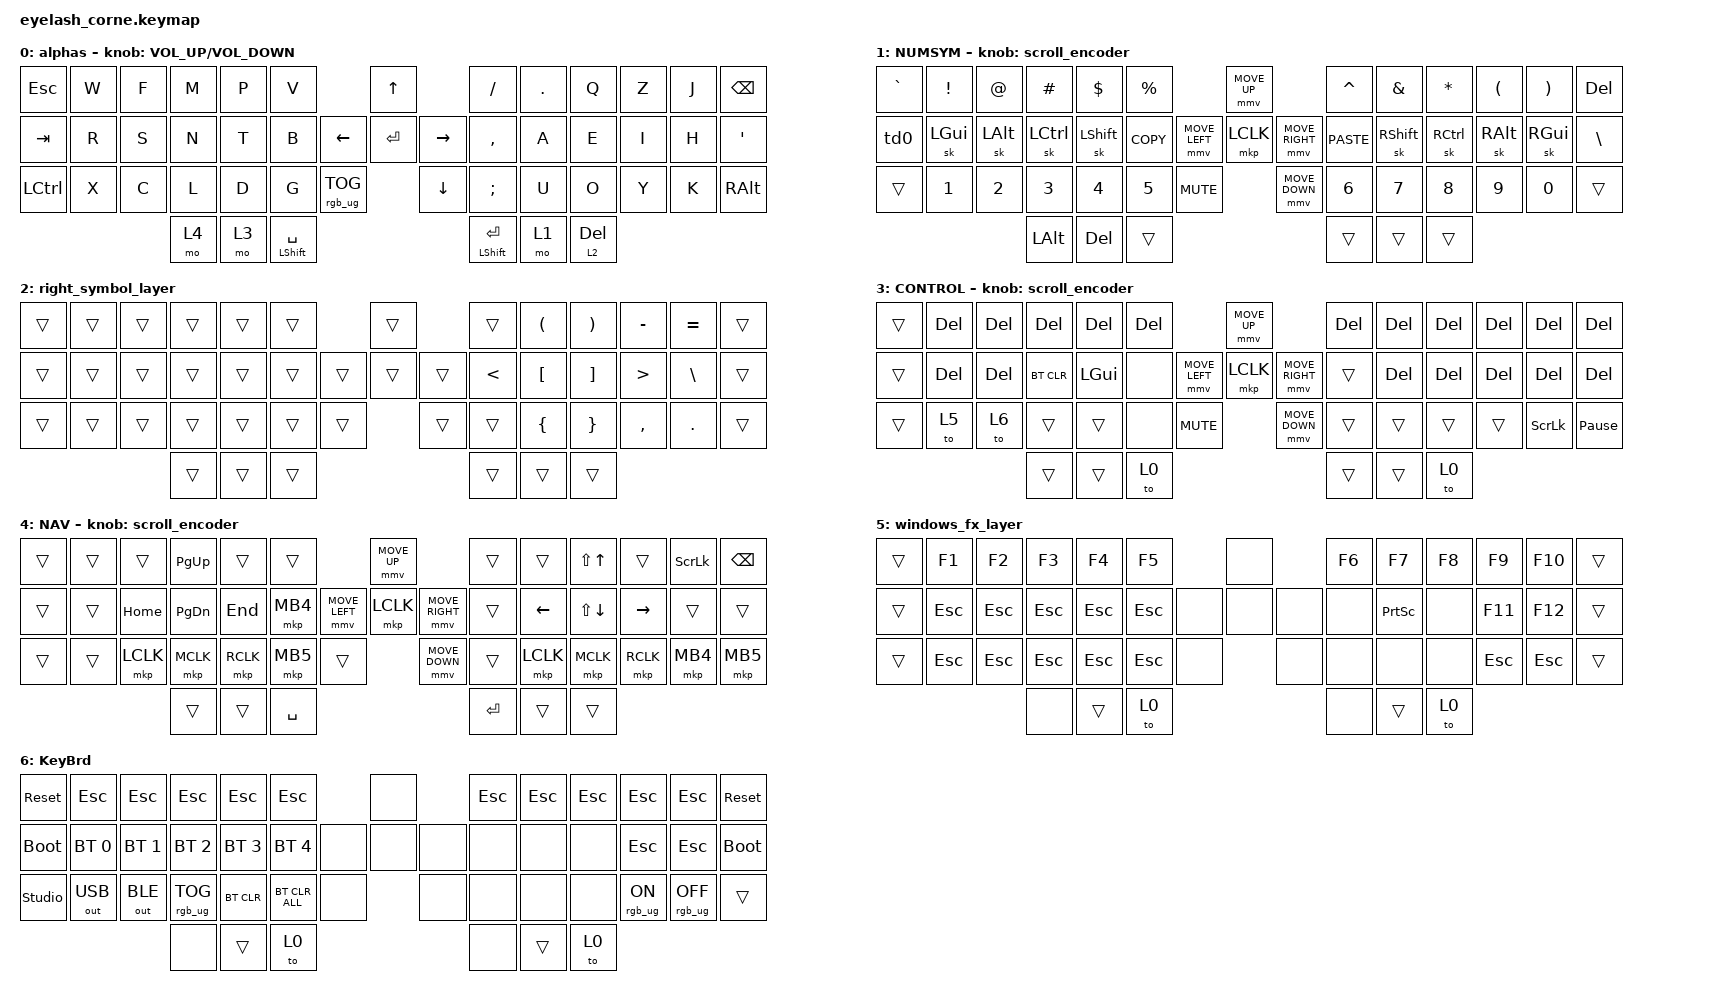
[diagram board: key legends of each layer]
#define ZMK_POINTING_DEFAULT_MOVE_VAL 1200  // 600
#define ZMK_POINTING_DEFAULT_SCRL_VAL 25   // 10

#include <input/processors.dtsi>
#include <zephyr/dt-bindings/input/input-event-codes.h>
#include <behaviors.dtsi>
#include <dt-bindings/zmk/bt.h>
#include <dt-bindings/zmk/keys.h>
#include <dt-bindings/zmk/outputs.h>
#include <dt-bindings/zmk/pointing.h>
#include <dt-bindings/zmk/rgb.h>

&mmv_input_listener { input-processors = <&zip_xy_scaler 2 1>; };

&msc_input_listener { input-processors = <&zip_scroll_scaler 2 1>; };

&msc {
    acceleration-exponent = <1>;      // 0
    time-to-max-speed-ms = <100>;       // 300
    delay-ms = <0>;                   // 0
};

&mmv {
    time-to-max-speed-ms = <500>;
    acceleration-exponent = <1>;
    trigger-period-ms = <16>;
};

/ {
    behaviors {
        td0: td0 {
            compatible = "zmk,behavior-tap-dance";
            display-name = "Shift/Caps Lock Tap Dance";
            #binding-cells = <0>;
            bindings = <&kp LEFT_SHIFT>, <&kp CAPS>;
        };

        td_delete: td_delete {
            compatible = "zmk,behavior-tap-dance";
            label = "TD_DELETE";
            #binding-cells = <0>;
            bindings = <&kp SQT>, <&kp DEL>;
        };
    };

    rgb_encoder: rgb_encoder {
        compatible = "zmk,behavior-sensor-rotate";
        #sensor-binding-cells = <0>;
        bindings = <&rgb_ug RGB_BRI>, <&rgb_ug RGB_BRD>;
    };

    scroll_encoder: scroll_encoder {
        compatible = "zmk,behavior-sensor-rotate";
        #sensor-binding-cells = <0>;
        bindings = <&msc SCRL_DOWN>, <&msc SCRL_UP>;

        tap-ms = <100>;
    };

    keymap {
        compatible = "zmk,keymap";

        letter_layer {
            display-name = "alphas";
            bindings = <
&kp ESCAPE  &kp W  &kp F  &kp M  &kp P  &kp V                                              &kp UP                &kp FSLH              &kp DOT  &kp Q         &kp Z  &kp J  &kp BACKSPACE
&kp TAB     &kp R  &kp S  &kp N  &kp T  &kp B                                    &kp LEFT  &kp ENTER  &kp RIGHT  &kp COMMA             &kp A    &kp E         &kp I  &kp H  &kp SQT
&kp LCTRL   &kp X  &kp C  &kp L  &kp D  &kp G                 &rgb_ug RGB_TOG              &kp DOWN              &kp SEMI              &kp U    &kp O         &kp Y  &kp K  &kp RIGHT_ALT
                          &mo 4  &mo 3  &mt LEFT_SHIFT SPACE                                                     &mt LEFT_SHIFT ENTER  &mo 1    &lt 2 DELETE
            >;

            sensor-bindings = <&inc_dec_kp C_VOLUME_UP C_VOLUME_DOWN>;
            label = "alphas";
        };

        right_num_layer {
            display-name = "NUMSYM";
            bindings = <
&kp GRAVE  &kp EXCLAMATION  &kp AT_SIGN   &kp HASH      &kp DOLLAR      &kp PERCENT                                &mmv MOVE_UP                     &kp CARET    &kp AMPERSAND    &kp ASTERISK  &kp LEFT_PARENTHESIS  &kp RIGHT_PARENTHESIS  &kp DELETE
&td0       &sk LEFT_GUI     &sk LEFT_ALT  &sk LCTRL     &sk LEFT_SHIFT  &kp K_COPY                 &mmv MOVE_LEFT  &mkp LCLK       &mmv MOVE_RIGHT  &kp K_PASTE  &sk RIGHT_SHIFT  &sk RCTRL     &sk RIGHT_ALT         &sk RIGHT_GUI          &kp BACKSLASH
&trans     &kp N1           &kp N2        &kp N3        &kp N4          &kp N5       &kp C_MUTE                    &mmv MOVE_DOWN                   &kp N6       &kp N7           &kp N8        &kp N9                &kp N0                 &trans
                                          &kp LEFT_ALT  &kp DEL         &trans                                                                      &trans       &trans           &trans
            >;

            sensor-bindings = <&scroll_encoder>;
        };

        right_symbol_layer {
            bindings = <
&trans  &trans  &trans  &trans  &trans  &trans                    &trans          &trans  &kp LEFT_PARENTHESIS  &kp RPAR  &kp MINUS  &kp EQUAL      &trans
&trans  &trans  &trans  &trans  &trans  &trans            &trans  &trans  &trans  &kp LT  &kp LBKT              &kp RBKT  &kp GT     &kp BACKSLASH  &trans
&trans  &trans  &trans  &trans  &trans  &trans  &trans            &trans          &trans  &kp LBRC              &kp RBRC  &kp COMMA  &kp DOT        &trans
                        &trans  &trans  &trans                                    &trans  &trans                &trans
            >;
        };

        lower_fx_layer {
            display-name = "CONTROL";
            bindings = <
&trans  &kp DEL  &kp DEL  &kp DEL     &kp DEL       &kp DEL                                &mmv MOVE_UP                     &kp DEL  &kp DEL  &kp DEL  &kp DEL  &kp DEL         &kp DEL
&trans  &kp DEL  &kp DEL  &bt BT_CLR  &kp LEFT_GUI  &none                  &mmv MOVE_LEFT  &mkp LCLK       &mmv MOVE_RIGHT  &trans   &kp DEL  &kp DEL  &kp DEL  &kp DEL         &kp DEL
&trans  &to 5    &to 6    &trans      &trans        &none    &kp C_MUTE                    &mmv MOVE_DOWN                   &trans   &trans   &trans   &trans   &kp SCROLLLOCK  &kp PAUSE_BREAK
                          &trans      &trans        &to 0                                                                   &trans   &trans   &to 0
            >;

            sensor-bindings = <&scroll_encoder>;
        };

        mouse_layer {
            display-name = "NAV";
            bindings = <
&trans  &trans  &trans     &kp PG_UP      &trans     &trans                               &mmv MOVE_UP                     &trans   &trans     &kp LS(UP_ARROW)  &trans           &kp SCROLLLOCK  &kp BSPC
&trans  &trans  &kp HOME   &kp PAGE_DOWN  &kp END    &mkp MB4             &mmv MOVE_LEFT  &mkp LCLK       &mmv MOVE_RIGHT  &trans   &kp LEFT   &kp LS(DOWN)      &kp RIGHT_ARROW  &trans          &trans
&trans  &trans  &mkp LCLK  &mkp MCLK      &mkp RCLK  &mkp MB5   &trans                    &mmv MOVE_DOWN                   &trans   &mkp LCLK  &mkp MCLK         &mkp RCLK        &mkp MB4        &mkp MB5
                           &trans         &trans     &kp SPACE                                                             &kp RET  &trans     &trans
            >;

            sensor-bindings = <&scroll_encoder>;
        };

        windows_fx_layer {
            bindings = <
&trans  &kp F1   &kp F2   &kp F3   &kp F4   &kp F5                   &none         &kp F6  &kp F7           &kp F8  &kp F9   &kp F10  &trans
&trans  &kp ESC  &kp ESC  &kp ESC  &kp ESC  &kp ESC           &none  &none  &none  &none   &kp PRINTSCREEN  &none   &kp F11  &kp F12  &trans
&trans  &kp ESC  &kp ESC  &kp ESC  &kp ESC  &kp ESC  &none           &none         &none   &none            &none   &kp ESC  &kp ESC  &trans
                          &none    &trans   &to 0                                  &none   &trans           &to 0
            >;
        };

        keyboard_layer {
            bindings = <
&sys_reset      &kp ESC       &kp ESC       &kp ESC          &kp ESC       &kp ESC                         &none         &kp ESC  &kp ESC  &kp ESC  &kp ESC         &kp ESC          &sys_reset
&bootloader     &bt BT_SEL 0  &bt BT_SEL 1  &bt BT_SEL 2     &bt BT_SEL 3  &bt BT_SEL 4             &none  &none  &none  &none    &none    &none    &kp ESC         &kp ESC          &bootloader
&studio_unlock  &out OUT_USB  &out OUT_BLE  &rgb_ug RGB_TOG  &bt BT_CLR    &bt BT_CLR_ALL  &none           &none         &none    &none    &none    &rgb_ug RGB_ON  &rgb_ug RGB_OFF  &trans
                                            &none            &trans        &to 0                                         &none    &trans   &to 0
            >;

            label = "KeyBrd";
        };
    };
};
